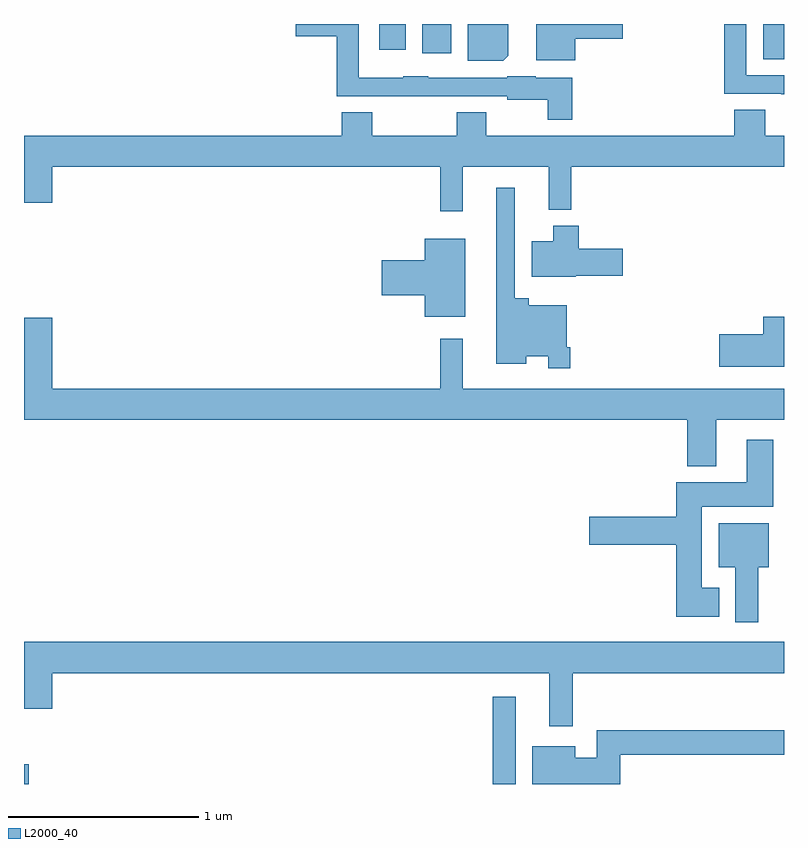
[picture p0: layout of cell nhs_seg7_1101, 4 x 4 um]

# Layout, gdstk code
import gdstk
lib = gdstk.Library(unit=1e-6, precision=1e-09)
def R(c, l, rs):  # rectangles x0, y0, x1, y1
    for r in rs: c.add(gdstk.rectangle(r[:2], r[2:], *l))
def P(c, l, *ps):  # polygons
    for p in ps: c.add(gdstk.Polygon(p, *l))
L2000_40 = (2000, 40)

nhs_seg7_1101 = lib.new_cell('nhs_seg7_1101')
R(nhs_seg7_1101, L2000_40, [(189,1032,189.025,1032.103), (191.466,1032,191.587,1032.46), (192.89,1035.814,193,1036), (191.096,1035.846,191.248,1036), (190.871,1035.864,191.008,1036)])
P(nhs_seg7_1101, L2000_40, [(191.885,1035.718),(191.694,1035.718),(191.694,1035.724),(191.544,1035.724),(191.544,1035.717),(191.127,1035.717),(191.127,1035.724),(190.995,1035.724),(190.995,1035.718),(190.761,1035.718),(190.761,1036),(190.43,1036),(190.43,1035.935),(190.645,1035.935),(190.645,1035.621),(190.895,1035.621),(190.895,1035.62),(191.127,1035.62),(191.127,1035.621),(191.544,1035.621),(191.544,1035.602),(191.757,1035.602),(191.757,1035.497),(191.885,1035.497)],
  [(193,1035.729),(192.801,1035.729),(192.801,1036),(192.685,1036),(192.685,1035.633),(192.985,1035.633),(192.985,1035.631),(193,1035.631)],
  [(191.548,1035.832),(191.548,1036),(191.336,1036),(191.336,1035.806),(191.522,1035.806)],
  [(191.902,1035.923),(192.151,1035.923),(192.151,1036),(191.696,1036),(191.696,1035.809),(191.902,1035.809)],
  [(191.309,1035.248),(191.762,1035.248),(191.762,1035.023),(191.879,1035.023),(191.879,1035.248),(193,1035.248),(193,1035.412),(192.902,1035.412),(192.902,1035.548),(192.737,1035.548),(192.737,1035.412),(191.433,1035.412),(191.433,1035.536),(191.278,1035.536),(191.278,1035.412),(190.833,1035.412),(190.833,1035.536),(190.673,1035.536),(190.673,1035.412),(189,1035.412),(189,1035.06),(189.148,1035.06),(189.148,1035.248),(191.191,1035.248),(191.191,1035.015),(191.309,1035.015)],
  [(191.876,1034.299),(191.856,1034.299),(191.856,1034.521),(191.657,1034.521),(191.657,1034.557),(191.583,1034.557),(191.583,1035.139),(191.486,1035.139),(191.486,1034.213),(191.644,1034.213),(191.644,1034.252),(191.76,1034.252),(191.76,1034.187),(191.876,1034.187)],
  [(191.904,1034.675),(192.151,1034.675),(192.151,1034.817),(191.921,1034.817),(191.921,1034.938),(191.786,1034.938),(191.786,1034.857),(191.672,1034.857),(191.672,1034.669),(191.904,1034.669)],
  [(191.323,1034.869),(191.108,1034.869),(191.108,1034.756),(190.884,1034.756),(190.884,1034.573),(191.108,1034.573),(191.108,1034.459),(191.323,1034.459)],
  [(193,1034.458),(192.89,1034.458),(192.89,1034.366),(192.66,1034.366),(192.66,1034.195),(193,1034.195)],
  [(192.643,1033.916),(193,1033.916),(193,1034.08),(191.308,1034.08),(191.308,1034.344),(191.191,1034.344),(191.191,1034.08),(189.148,1034.08),(189.148,1034.455),(189,1034.455),(189,1033.916),(192.491,1033.916),(192.491,1033.673),(192.643,1033.673)],
  [(192.658,1033.033),(192.568,1033.033),(192.568,1033.46),(192.943,1033.46),(192.943,1033.813),(192.803,1033.813),(192.803,1033.588),(192.434,1033.588),(192.434,1033.406),(191.976,1033.406),(191.976,1033.259),(192.434,1033.259),(192.434,1032.881),(192.658,1032.881)],
  [(192.865,1033.142),(192.919,1033.142),(192.919,1033.372),(192.656,1033.372),(192.656,1033.142),(192.743,1033.142),(192.743,1032.852),(192.865,1032.852)],
  [(191.887,1032.584),(193,1032.584),(193,1032.748),(189,1032.748),(189,1032.396),(189.148,1032.396),(189.148,1032.584),(191.765,1032.584),(191.765,1032.303),(191.887,1032.303)],
  [(192.137,1032.154),(193,1032.154),(193,1032.283),(192.014,1032.283),(192.014,1032.139),(191.902,1032.139),(191.902,1032.199),(191.675,1032.199),(191.675,1032),(192.137,1032)])

lib.write_gds('nhs_seg7_1101.gds')
